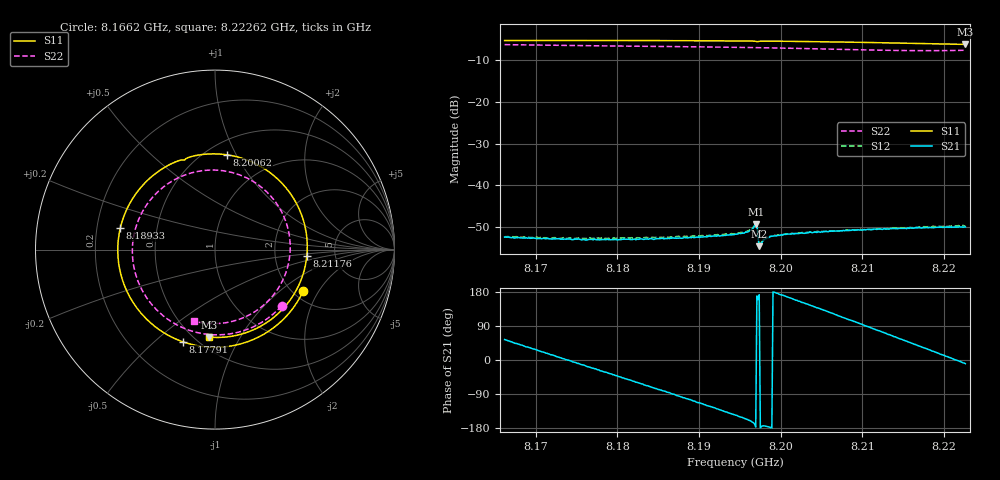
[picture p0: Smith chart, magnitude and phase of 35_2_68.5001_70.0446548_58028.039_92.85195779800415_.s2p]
#  HZ  S  RI  R  50.00
! Rohde & Schwarz Vector Network Analyzer
! Rohde-Schwarz,ZNB20-2Port,1311601062101988,3.16
! Created: UTC 3/20/2024, 5:05:14 PM
! freq[Hz]  re:S11  im:S11  re:S21  im:S21  re:S12  im:S12  re:S22  im:S22
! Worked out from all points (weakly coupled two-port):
!   401 points, 8.1662 GHz to 8.22262 GHz, reference 50 ohm
!   highest |S21| = -49.23 dB at 8.19695 GHz (marker M1); lowest = -54.6 dB at 8.19737 GHz (marker M2)
!   lowest |S11| = -6.2 dB at 8.22262 GHz (marker M3), VSWR 2.91, Z = 29.2 - j37.4 ohm
!   |S11| at or under -10 dB: nowhere
!   |S22| runs from -7.7 to -6.3 dB; largest |S21 - S12| = 0.00021
!   S11 on the Smith chart (normalised r, x): 8.1662 GHz: 2.27, -1.48; 8.17791 GHz: 0.43, -0.62; 8.18933 GHz: 0.30, +0.10; 8.20062 GHz: 0.62, +0.92; 8.21176 GHz: 3.07, -0.29; 8.22262 GHz: 0.58, -0.75
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8.166199e9  0.4919 -0.2298  0.00141 0.00194  0.00139 0.00198  0.3707 -0.3134
8.171277e9  0.2618 -0.4772  0.00218 0.000704  0.00224 0.000714  0.1204 -0.4625
8.17565e9  -0.0252 -0.5437  0.00217 -0.000473  0.00227 -0.000491  -0.1269 -0.4546
8.177907e9  -0.1771 -0.5144  0.00196 -0.00108  0.00204 -0.00109  -0.243 -0.4016
8.181292e9  -0.375 -0.3935  0.00142 -0.00176  0.00145 -0.00187  -0.379 -0.2704
8.185101e9  -0.5145 -0.1719  0.000486 -0.00225  0.000462 -0.00234  -0.4559 -0.0742
8.189332e9  -0.5277 0.1197  -0.00075 -0.00225  -0.000827 -0.00233  -0.4295 0.1571
8.19173e9  -0.4647 0.2748  -0.00143 -0.00202  -0.00152 -0.00202  -0.3636 0.2726
8.19441e9  -0.3415 0.4162  -0.00214 -0.00148  -0.00222 -0.00144  -0.2534 0.3728
8.196949e9  -0.1807 0.4997  -0.00345 -0.000195  -0.00355 -4.42e-05  -0.123 0.4296
8.197372e9  -0.1623 0.5065  -0.00185 0.000253  -0.00187 0.000367  -0.0999 0.4347
8.197655e9  -0.1424 0.5151  -0.00204 -0.000168  -0.00209 -9.19e-05  -0.0844 0.4377
8.198642e9  -0.0722 0.5297  -0.00241 -0.000119  -0.00245 -1.56e-05  -0.0286 0.4429
8.200617e9  0.0673 0.528  -0.00252 0.000542  -0.00254 0.000633  0.083 0.4324
8.203861e9  0.2802 0.4475  -0.00216 0.00164  -0.00214 0.00176  0.2508 0.3538
8.207952e9  0.4673 0.23  -0.000988 0.00273  -0.000914 0.00275  0.3922 0.1629
8.21176e9  0.5115 -0.0353  0.000562 0.00291  0.000618 0.00293  0.4122 -0.0639
8.213312e9  0.4885 -0.1441  0.00117 0.00276  0.00128 0.00274  0.3841 -0.1558
8.21571e9  0.4076 -0.2958  0.00208 0.00223  0.00219 0.0022  0.3009 -0.281
8.218249e9  0.2713 -0.4171  0.00281 0.00142  0.00291 0.00133  0.1683 -0.3749
8.220506e9  0.1202 -0.4777  0.00312 0.000455  0.00321 0.00033  0.025 -0.4113
8.222622e9  -0.0321 -0.4874  0.00314 -0.000532  0.00322 -0.000677  -0.1156 -0.399
